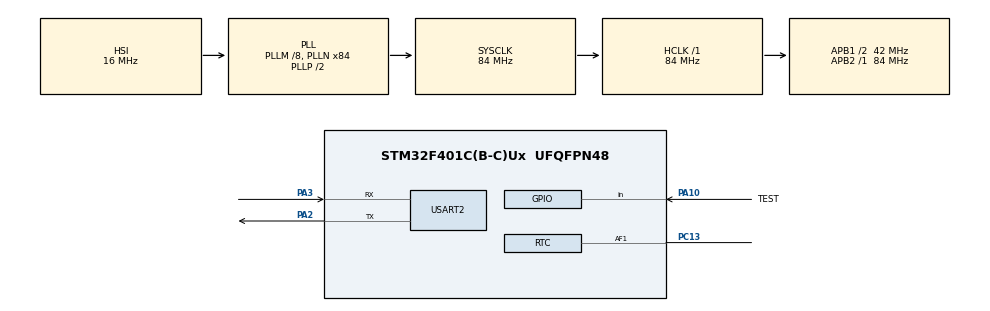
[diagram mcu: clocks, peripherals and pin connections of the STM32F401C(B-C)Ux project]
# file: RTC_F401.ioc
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Mcu.Family=STM32F4
Mcu.Name=STM32F401C(B-C)Ux
Mcu.Package=UFQFPN48
NVIC.PriorityGroup=NVIC_PRIORITYGROUP_4
NVIC.TAMP_STAMP_IRQn=true\:0\:0\:false\:false\:true\:true\:true
PA10.GPIO_Label=TEST
PA10.GPIO_PuPd=GPIO_PULLUP
PA10.Signal=GPIO_Input
PA13.Mode=Serial_Wire
PA13.Signal=SYS_JTMS-SWDIO
PA14.Mode=Serial_Wire
PA14.Signal=SYS_JTCK-SWCLK
PA2.Mode=Asynchronous
PA2.Signal=USART2_TX
PA3.Mode=Asynchronous
PA3.Signal=USART2_RX
PC13-ANTI_TAMP.Mode=Timestamp enabled - Input Enabled to AF1
PC13-ANTI_TAMP.Signal=RTC_AF1
ProjectManager.HeapSize=0x200
ProjectManager.StackSize=0x400
ProjectManager.TargetToolchain=STM32CubeIDE
RCC.48MHZClocksFreq_Value=42000000
RCC.AHBFreq_Value=84000000
RCC.APB1CLKDivider=RCC_HCLK_DIV2
RCC.APB1Freq_Value=42000000
RCC.APB1TimFreq_Value=84000000
RCC.APB2Freq_Value=84000000
RCC.APB2TimFreq_Value=84000000
RCC.CortexFreq_Value=84000000
RCC.HCLKFreq_Value=84000000
RCC.HSE_VALUE=25000000
RCC.HSI_VALUE=16000000
RCC.LSE_VALUE=32768
RCC.PLLM=8
RCC.PLLN=84
RCC.SYSCLKFreq_VALUE=84000000
RCC.SYSCLKSource=RCC_SYSCLKSOURCE_PLLCLK
RCC.VCOOutputFreq_Value=168000000
RTC.Date=7
RTC.Format=RTC_FORMAT_BIN
RTC.Hours=19
RTC.Minutes=50
RTC.Month=RTC_MONTH_MARCH
RTC.TimeStampEdge=RTC_TIMESTAMPEDGE_FALLING
RTC.TimeStampPin=RTC_TIMESTAMPPIN_DEFAULT
RTC.WeekDay=RTC_WEEKDAY_SATURDAY
RTC.Year=20
USART2.VirtualMode=VM_ASYNC
VP_RTC_VS_RTC_Activate.Mode=RTC_Enabled
VP_RTC_VS_RTC_Calendar.Mode=RTC_Calendar
board=custom

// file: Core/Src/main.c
/* USER CODE BEGIN Header */
/**
  ******************************************************************************
  * @file           : main.c
  * @brief          : Main program body
  ******************************************************************************
  * @attention
  *
  * <h2><center>&copy; Copyright (c) 2020 STMicroelectronics.
  * All rights reserved.</center></h2>
  *
  * This software component is licensed by ST under BSD 3-Clause license,
  * the "License"; You may not use this file except in compliance with the
  * License. You may obtain a copy of the License at:
  *                        opensource.org/licenses/BSD-3-Clause
  *
  ******************************************************************************
  *
  *  Created on: 17.02.2019
  *      Author: Mateusz Salamon
  *    www.msalamon.pl
  *
  *      Website: https://msalamon.pl/a-jak-to-jest-z-tym-rtc-na-stm32f4/
  *      GitHub:  https://github.com/lamik/RTC_F401
  *      Contact: mateusz@msalamon.pl
*/
/* USER CODE END Header */

#include "main.h"
#include "rtc.h"
#include "usart.h"
#include "gpio.h"

/* USER CODE BEGIN Includes */
#include <stdio.h>
/* USER CODE END Includes */

/* USER CODE BEGIN PD */
#define BACKUP_COUNT 20
/* USER CODE END PD */

/* USER CODE BEGIN PV */
RTC_TimeTypeDef RtcTime;
RTC_DateTypeDef RtcDate;
uint16_t Milliseconds;

RTC_TimeTypeDef RtcTimeStamp;
RTC_DateTypeDef RtcDateStamp;
uint16_t MillisecondsStamp;

uint8_t CompareSeconds;
uint8_t CompareDate;

uint8_t Message[64];
uint8_t MessageLen;

volatile uint8_t TimeStampFlag;

/* Backup registers table */
uint32_t aBKPDataReg[BACKUP_COUNT] =
{
  RTC_BKP_DR0,  RTC_BKP_DR1,  RTC_BKP_DR2,
  RTC_BKP_DR3,  RTC_BKP_DR4,  RTC_BKP_DR5,
  RTC_BKP_DR6,  RTC_BKP_DR7,  RTC_BKP_DR8,
  RTC_BKP_DR9,  RTC_BKP_DR10, RTC_BKP_DR11,
  RTC_BKP_DR12, RTC_BKP_DR13, RTC_BKP_DR14,
  RTC_BKP_DR15, RTC_BKP_DR16, RTC_BKP_DR17,
  RTC_BKP_DR18, RTC_BKP_DR19
};
/* USER CODE END PV */

void SystemClock_Config(void);

/* USER CODE BEGIN 0 */
void SetRTC(void);
void BackupDateToBR(void);
void RTC_TimeStampSet(void);
/* USER CODE END 0 */

int main(void)
{

  /* MCU Configuration--------------------------------------------------------*/

  /* Reset of all peripherals, Initializes the Flash interface and the Systick. */
  HAL_Init();

  /* Configure the system clock */
  SystemClock_Config();

  /* Initialize all configured peripherals */
  MX_GPIO_Init();
  MX_USART2_UART_Init();
  MX_RTC_Init();
  /* USER CODE BEGIN 2 */
  RTC_TimeStampSet();
  /* USER CODE END 2 */

  /* Infinite loop */
  /* USER CODE BEGIN WHILE */
  while (1)
  {
	  HAL_RTC_GetTime(&hrtc, &RtcTime, RTC_FORMAT_BIN);
	  Milliseconds = ((RtcTime.SecondFraction-RtcTime.SubSeconds)/((float)RtcTime.SecondFraction+1) * 100);
	  HAL_RTC_GetDate(&hrtc, &RtcDate, RTC_FORMAT_BIN);

	  if(RtcTime.Seconds != CompareSeconds)
	  {
		  MessageLen = sprintf((char*)Message, "Date: %02d.%02d.20%02d Time: %02d:%02d:%02d:%02d\n\r", RtcDate.Date, RtcDate.Month, RtcDate.Year, RtcTime.Hours, RtcTime.Minutes, RtcTime.Seconds, Milliseconds);
		  HAL_UART_Transmit(&huart2, Message, MessageLen, 100);
		  CompareSeconds = RtcTime.Seconds;
	  }

	  if(TimeStampFlag == 1)
	  {
		  MessageLen = sprintf((char*)Message, "TimeStamp! Date: %02d.%02d.20%02d Time: %02d:%02d:%02d:%02d\n\r", RtcDateStamp.Date, RtcDateStamp.Month,
				  RtcDateStamp.Year, RtcTimeStamp.Hours, RtcTimeStamp.Minutes, RtcTimeStamp.Seconds, MillisecondsStamp);
		  HAL_UART_Transmit(&huart2, Message, MessageLen, 100);

		  TimeStampFlag = 0;
	  }

	  if(GPIO_PIN_RESET == HAL_GPIO_ReadPin(TEST_GPIO_Port, TEST_Pin))
	  {
		 while(GPIO_PIN_RESET == HAL_GPIO_ReadPin(TEST_GPIO_Port, TEST_Pin))
		 {}
		 SetRTC();
	  }
    /* USER CODE END WHILE */

  }
}

void SystemClock_Config(void)
{
  RCC_OscInitTypeDef RCC_OscInitStruct = {0};
  RCC_ClkInitTypeDef RCC_ClkInitStruct = {0};
  RCC_PeriphCLKInitTypeDef PeriphClkInitStruct = {0};

  /** Configure the main internal regulator output voltage
  */
  __HAL_RCC_PWR_CLK_ENABLE();
  __HAL_PWR_VOLTAGESCALING_CONFIG(PWR_REGULATOR_VOLTAGE_SCALE2);
  /** Initializes the CPU, AHB and APB busses clocks
  */
  RCC_OscInitStruct.OscillatorType = RCC_OSCILLATORTYPE_HSI|RCC_OSCILLATORTYPE_LSI;
  RCC_OscInitStruct.HSIState = RCC_HSI_ON;
  RCC_OscInitStruct.HSICalibrationValue = RCC_HSICALIBRATION_DEFAULT;
  RCC_OscInitStruct.LSIState = RCC_LSI_ON;
  RCC_OscInitStruct.PLL.PLLState = RCC_PLL_ON;
  RCC_OscInitStruct.PLL.PLLSource = RCC_PLLSOURCE_HSI;
  RCC_OscInitStruct.PLL.PLLM = 8;
  RCC_OscInitStruct.PLL.PLLN = 84;
  RCC_OscInitStruct.PLL.PLLP = RCC_PLLP_DIV2;
  RCC_OscInitStruct.PLL.PLLQ = 4;
  if (HAL_RCC_OscConfig(&RCC_OscInitStruct) != HAL_OK)
  {
    Error_Handler();
  }
  /** Initializes the CPU, AHB and APB busses clocks
  */
  RCC_ClkInitStruct.ClockType = RCC_CLOCKTYPE_HCLK|RCC_CLOCKTYPE_SYSCLK
                              |RCC_CLOCKTYPE_PCLK1|RCC_CLOCKTYPE_PCLK2;
  RCC_ClkInitStruct.SYSCLKSource = RCC_SYSCLKSOURCE_PLLCLK;
  RCC_ClkInitStruct.AHBCLKDivider = RCC_SYSCLK_DIV1;
  RCC_ClkInitStruct.APB1CLKDivider = RCC_HCLK_DIV2;
  RCC_ClkInitStruct.APB2CLKDivider = RCC_HCLK_DIV1;

  if (HAL_RCC_ClockConfig(&RCC_ClkInitStruct, FLASH_LATENCY_2) != HAL_OK)
  {
    Error_Handler();
  }
  PeriphClkInitStruct.PeriphClockSelection = RCC_PERIPHCLK_RTC;
  PeriphClkInitStruct.RTCClockSelection = RCC_RTCCLKSOURCE_LSI;
  if (HAL_RCCEx_PeriphCLKConfig(&PeriphClkInitStruct) != HAL_OK)
  {
    Error_Handler();
  }
}

/* USER CODE BEGIN 4 */
void BackupDateToBR(void)
{
	HAL_RTCEx_BKUPWrite(&hrtc, RTC_BKP_DR2, ((RtcDate.Date << 8) | (RtcDate.Month)));
	HAL_RTCEx_BKUPWrite(&hrtc, RTC_BKP_DR3, ((RtcDate.Year << 8) | (RtcDate.WeekDay)));
}

void SetRTC(void)
{
	RTC_TimeTypeDef sTime = {0};
	RTC_DateTypeDef DateToUpdate = {0};

	/** Initialize RTC and set the Time and Date
	*/
	sTime.Hours = 23;
	sTime.Minutes = 59;
	sTime.Seconds = 56;

	if (HAL_RTC_SetTime(&hrtc, &sTime, RTC_FORMAT_BIN) != HAL_OK)
	{
	  Error_Handler();
	}

	DateToUpdate.WeekDay = RTC_WEEKDAY_SATURDAY;
	DateToUpdate.Month = RTC_MONTH_FEBRUARY;
	DateToUpdate.Date = 3;
	DateToUpdate.Year = 20;

	if (HAL_RTC_SetDate(&hrtc, &DateToUpdate, RTC_FORMAT_BIN) != HAL_OK)
	{
	  Error_Handler();
	}

	BackupDateToBR();
}

void RTC_TimeStampSet(void)
{
	/** Enable the TimeStamp
	*/
	if (HAL_RTCEx_SetTimeStamp_IT(&hrtc, RTC_TIMESTAMPEDGE_FALLING, RTC_TIMESTAMPPIN_DEFAULT) != HAL_OK)
	{
	Error_Handler();
	}
}
/**
  * @brief  TimeStamp callback.
  * @param  hrtc pointer to a RTC_HandleTypeDef structure that contains
  *                the configuration information for RTC.
  * @retval None
  */
void HAL_RTCEx_TimeStampEventCallback(RTC_HandleTypeDef *hrtc)
{
  HAL_RTCEx_GetTimeStamp(hrtc, &RtcTimeStamp, &RtcDateStamp, RTC_FORMAT_BIN);
  MillisecondsStamp = ((RtcTime.SecondFraction-RtcTimeStamp.SubSeconds)/((float)RtcTime.SecondFraction+1) * 100);
	TimeStampFlag = 1;
}
/* USER CODE END 4 */

void Error_Handler(void)
{
}

/************************ (C) COPYRIGHT STMicroelectronics *****END OF FILE****/
